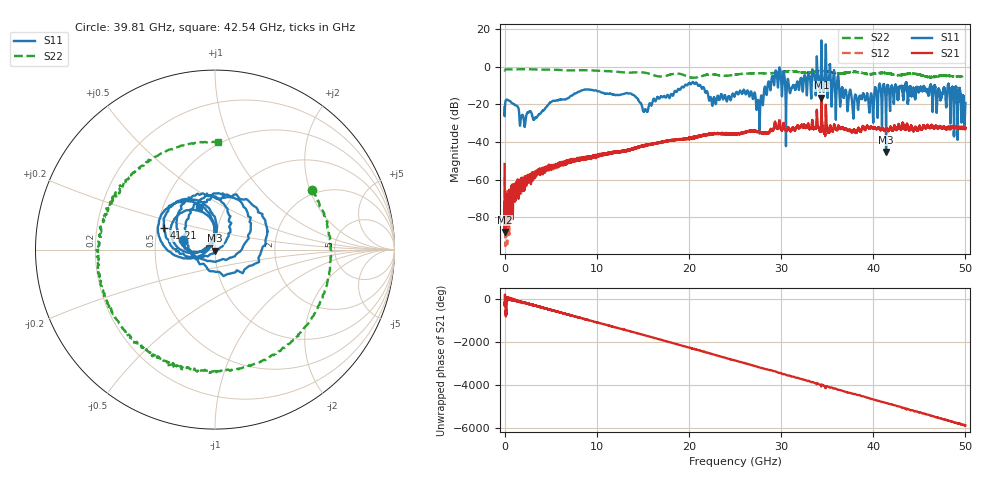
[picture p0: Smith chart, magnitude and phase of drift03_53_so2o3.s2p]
!Created with skrf (http://scikit-rf.org).
# Hz S RI R 50.0
!freq ReS11 ImS11 ReS21 ImS21 ReS12 ImS12 ReS22 ImS22
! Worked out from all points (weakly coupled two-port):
!   10001 points, 300 kHz to 50 GHz, reference 50 ohm
!   highest |S21| = -16.44 dB at 34.37 GHz (marker M1); lowest = -87.9 dB at 25.3 MHz (marker M2)
!   lowest |S11| = -45.4 dB at 41.4 GHz (marker M3), VSWR 1.01, Z = 50.1 - j0.515 ohm
!   |S11| at or under -10 dB: start of sweep to 19.56 GHz; 21.25 GHz to 28.55 GHz (7.298 GHz wide, 29.3 % of centre); 36.28 GHz to 40.62 GHz (4.338 GHz wide, 11.3 % of centre) (the widest 3 of 40)
!   |S22| runs from -5.9 to -1.3 dB; largest |S21 - S12| = 0.029
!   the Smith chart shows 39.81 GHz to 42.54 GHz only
!   S11 on the Smith chart (normalised r, x): 39.81 GHz: 0.69, +0.08; 41.21 GHz: 0.55, +0.15; 42.54 GHz: 0.75, +0.38
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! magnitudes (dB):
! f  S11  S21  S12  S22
! 300 kHz  -21.6  -51.7  -58.8  -2.0
! 25.3 MHz  -23.2  -87.9  -81.9  -1.9
! 255.3 MHz  -17.6  -73.4  -68.2  -1.4
! 3.3 GHz  -27.2  -57.0  -57.9  -1.5
! 8.335 GHz  -12.6  -49.1  -48.8  -1.9
! 13.76 GHz  -14.5  -43.8  -44.0  -3.1
! 15.29 GHz  -22.8  -41.8  -41.8  -3.3
! 16.67 GHz  -16.5  -40.5  -40.5  -5.2
! 20.26 GHz  -9.2  -38.1  -37.9  -5.8
! 22.71 GHz  -16.4  -35.8  -35.5  -4.2
! 25 GHz  -15.3  -36.0  -35.8  -4.3
! 27.52 GHz  -17.7  -34.7  -34.6  -3.5
! 29.28 GHz  -8.2  -31.0  -30.3  -3.3
! 30.73 GHz  -6.5  -32.9  -32.5  -2.5
! 33.34 GHz  -7.4  -31.2  -31.1  -2.9
! 34.37 GHz  13.9  -16.4  -17.7  -2.3
! 39.81 GHz  -14.5  -32.1  -32.2  -4.0
! 41.21 GHz  -10.3  -34.0  -33.9  -3.3
! 41.4 GHz  -45.4  -32.7  -32.8  -3.4
! 41.67 GHz  -11.4  -34.0  -34.1  -3.7
! 42.54 GHz  -11.9  -33.5  -33.5  -4.5
! 50 GHz  -19.3  -32.7  -32.7  -5.0
